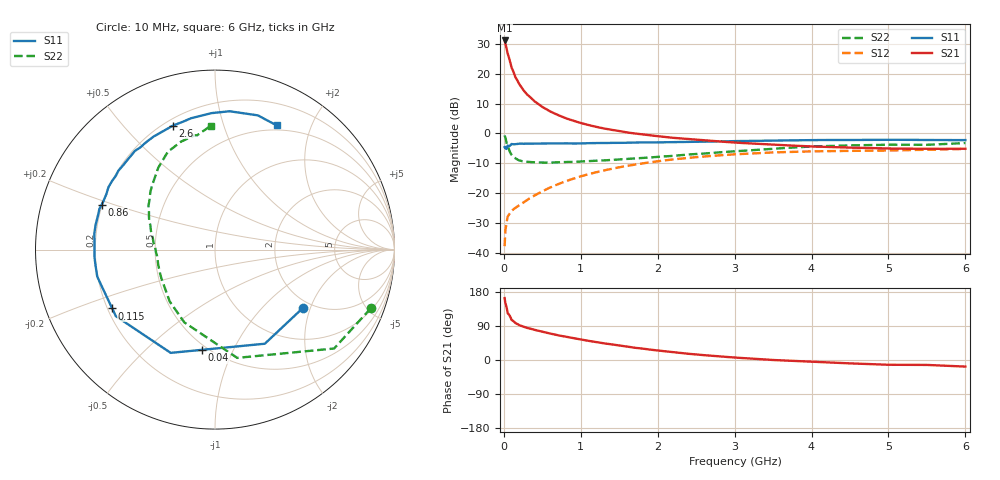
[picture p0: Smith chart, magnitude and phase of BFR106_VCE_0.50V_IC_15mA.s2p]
! Infineon Technologies  Discrete & RF Semiconductors
! BFR106
! VCE = 0.50 V,  IC =  15 mA
! Common Emitter S-Parameters:  Nov 2015
# GHz  S  MA  R  50
!  f  S11  S21  S12  S22
! GHz  MAG  ANG  MAG  ANG  MAG  ANG  MAG  ANG
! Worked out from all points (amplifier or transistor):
!   210 points, 10 MHz to 6 GHz, reference 50 ohm
!   highest |S21| = 31.2 dB at 10 MHz (marker M1)
!   |S21| within 3 dB of that: start of sweep to 37.57 MHz
!   unconditionally stable (mu >= 1): 361 MHz to end of sweep
!   at 185 MHz: K = 0.72, MSG = 20.9 dB, |S12| = -24.4 dB
!   at 1.52 GHz: K = 1.11, MAG = 4.0 dB, |S12| = -11.3 dB
!   at 6 GHz: K = 1.03, MAG = -1.0 dB, |S12| = -5.2 dB
!   S11 on the Smith chart (normalised r, x): 10 MHz: 1.79, -1.78; 40 MHz: 0.47, -0.76; 115 MHz: 0.22, -0.25; 860 MHz: 0.20, +0.18; 2.6 GHz: 0.23, +0.69; 6 GHz: 0.44, +1.52
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0.01  0.5878 -33.6  36.43 163.4  0.0128 77.5  0.9272 -20.7
0.02  0.5934 -62.1  32.91 149.9  0.0236 65.0  0.8626 -39.7
0.04  0.563 -97.3  24.94 134.9  0.0343 50.4  0.66 -62.6
0.05  0.626 -113.2  21.93 123.7  0.0402 46.2  0.6159 -78.4
0.1  0.6653 -146.1  12.85 105.9  0.0502 39.2  0.4398 -112.9
0.115  0.6599 -150.2  11.62 103.9  0.052 39.7  0.4186 -117.9
0.15  0.6606 -159.9  8.836 97.3  0.0562 40.7  0.3834 -131.3
0.2  0.6731 -167.1  6.756 92.0  0.0624 43.5  0.3522 -142.3
0.24  0.6715 -171.6  5.674 88.8  0.0673 45.6  0.342 -149.1
0.3  0.6726 -176.3  4.541 84.8  0.0761 49.3  0.3346 -155.9
0.4  0.6723 177.1  3.451 79.3  0.091 53.0  0.3282 -164.0
0.5  0.6785 172.4  2.788 74.6  0.1064 55.0  0.3248 -169.5
0.7  0.6789 163.9  2.047 65.3  0.1397 56.6  0.328 -176.2
0.86  0.6794 158.5  1.704 59.4  0.1669 56.2  0.3319 178.9
1.02  0.681 152.3  1.474 53.4  0.1936 55.2  0.3384 175.6
1.4  0.695 140.7  1.149 41.3  0.2548 50.4  0.3589 167.5
2.02  0.7099 123.4  0.894 24.7  0.3433 40.7  0.4065 154.8
2.6  0.7296 108.7  0.766 12.8  0.4108 31.1  0.4591 142.5
3.1  0.7458 98.6  0.691 5.2  0.4524 22.7  0.5105 132.2
4.1  0.7747 82.8  0.599 -5.4  0.5022 8.1  0.6093 114.0
5.1  0.7828 71.3  0.556 -12.7  0.5202 -3.0  0.6464 99.8
6  0.7733 63.6  0.554 -17.4  0.5483 -11.3  0.6899 92.0
